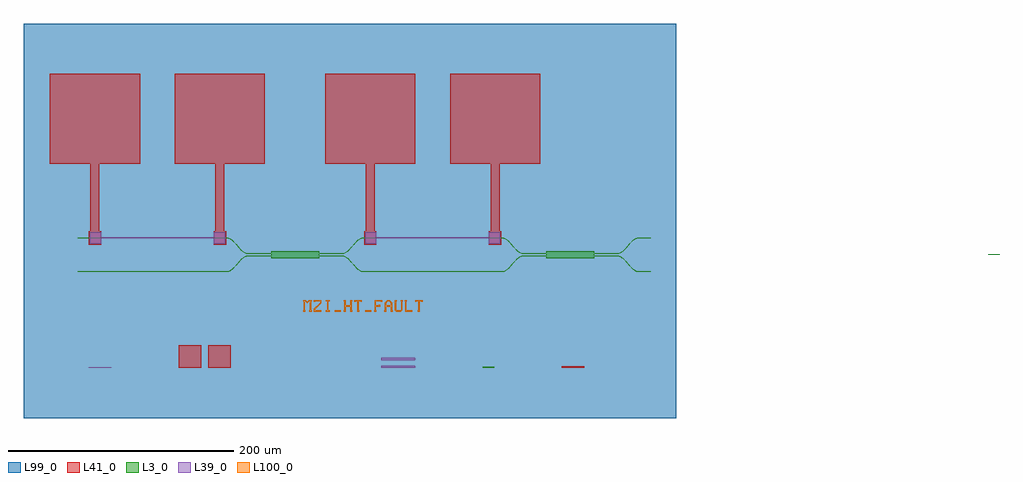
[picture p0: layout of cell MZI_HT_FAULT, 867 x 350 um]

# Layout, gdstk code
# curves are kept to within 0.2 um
import gdstk
lib = gdstk.Library(unit=1e-6, precision=1e-09)
def R(c, l, rs):  # rectangles x0, y0, x1, y1
    for r in rs: c.add(gdstk.rectangle(r[:2], r[2:], *l))
def A(c, l, x, y, w, h, nx, ny, dx, dy):  # array of equal rectangles
    R(c, l, [(x+i*dx, y+j*dy, x+i*dx+w, y+j*dy+h) for i in range(nx) for j in range(ny)])
def P(c, l, *ps):  # polygons
    for p in ps: c.add(gdstk.Polygon(p, *l))
L3_0 = (3, 0)
L39_0 = (39, 0)
L41_0 = (41, 0)
L99_0 = (99, 0)
L100_0 = (100, 0)

soi220nm_1550nm_te_strip = lib.new_cell('SOI220nm_1550nm_TE_STRIP_2x2_MMI_MMI_mmi_trace')
R(soi220nm_1550nm_te_strip, L3_0, [(0,-3,42.5,3)])

c_soi220nm_1550nm_te_strip = lib.new_cell('SOI220nm_1550nm_TE_STRIP_2x2_MMI_TRANSITION1')
P(c_soi220nm_1550nm_te_strip, L3_0, [(0,-1.765),(0,-0.265),(-20,-0.79),(-20,-1.24)])

c_soi220nm_1550nm_te_strip_ = lib.new_cell('SOI220nm_1550nm_TE_STRIP_2x2_MMI_TRANSITION2')
P(c_soi220nm_1550nm_te_strip_, L3_0, [(0,0.265),(0,1.765),(-20,1.24),(-20,0.79)])

c_soi220nm_1550nm_te_strip__ = lib.new_cell('SOI220nm_1550nm_TE_STRIP_2x2_MMI_TRANSITION3')
P(c_soi220nm_1550nm_te_strip__, L3_0, [(42.5,-0.265),(42.5,-1.765),(62.5,-1.24),(62.5,-0.79)])

c_soi220nm_1550nm_te_strip___ = lib.new_cell('SOI220nm_1550nm_TE_STRIP_2x2_MMI_TRANSITION4')
P(c_soi220nm_1550nm_te_strip___, L3_0, [(42.5,1.765),(42.5,0.265),(62.5,0.79),(62.5,1.24)])

c_soi220nm_1550nm_te_strip____ = lib.new_cell('SOI220nm_1550nm_TE_STRIP_2x2_MMI')
c_soi220nm_1550nm_te_strip____.add(gdstk.Reference(soi220nm_1550nm_te_strip, (0,0)))
c_soi220nm_1550nm_te_strip____.add(gdstk.Reference(c_soi220nm_1550nm_te_strip, (0,0)))
c_soi220nm_1550nm_te_strip____.add(gdstk.Reference(c_soi220nm_1550nm_te_strip_, (0,0)))
c_soi220nm_1550nm_te_strip____.add(gdstk.Reference(c_soi220nm_1550nm_te_strip__, (0,0)))
c_soi220nm_1550nm_te_strip____.add(gdstk.Reference(c_soi220nm_1550nm_te_strip___, (0,0)))

wg_trace_7 = lib.new_cell('WG_TRACE_7')
P(wg_trace_7, L3_0, [(-10,14.775),(122.955,14.754),(123.867,14.59),(125.246,14.039),(126.174,13.479),(127.577,12.38),(129.461,10.529),(134.689,4.676),(136.127,3.297),(137.09,2.51),(138.546,1.578),(139.524,1.145),(140.51,0.879),(142,0.79),(142,1.24),(140.59,1.323),(139.676,1.569),(138.754,1.976),(137.36,2.87),(136.423,3.635),(135.011,4.99),(129.789,10.837),(127.873,12.718),(126.426,13.851),(125.454,14.437),(123.983,15.024),(122.995,15.202),(-10,15.225)])

wg_trace_8 = lib.new_cell('WG_TRACE_8')
P(wg_trace_8, L3_0, [(-10,-15.225),(122.995,-15.202),(123.983,-15.024),(125.454,-14.437),(126.426,-13.851),(127.873,-12.718),(129.789,-10.837),(135.011,-4.99),(136.423,-3.635),(137.36,-2.87),(138.754,-1.976),(139.676,-1.569),(140.59,-1.323),(142,-1.24),(142,-0.79),(140.51,-0.879),(139.524,-1.145),(138.546,-1.578),(137.09,-2.51),(136.127,-3.297),(134.689,-4.676),(129.461,-10.529),(127.577,-12.38),(126.174,-13.479),(125.246,-14.039),(123.867,-14.59),(122.955,-14.754),(-10,-14.775)])

wg_trace_9 = lib.new_cell('WG_TRACE_9')
P(wg_trace_9, L3_0, [(224.5,0.79),(225.99,0.879),(226.976,1.145),(227.954,1.578),(229.41,2.51),(230.373,3.297),(231.811,4.676),(237.039,10.529),(238.454,11.954),(239.392,12.778),(240.791,13.777),(241.716,14.262),(242.633,14.59),(244.005,14.775),(367.455,14.754),(368.367,14.59),(369.746,14.039),(370.674,13.479),(372.077,12.38),(373.961,10.529),(379.189,4.676),(380.627,3.297),(382.074,2.164),(383.534,1.341),(385.01,0.879),(386.5,0.79),(386.5,1.24),(385.09,1.323),(384.176,1.569),(383.254,1.976),(381.86,2.87),(380.923,3.635),(379.511,4.99),(374.289,10.837),(372.373,12.718),(370.926,13.851),(369.954,14.437),(368.483,15.024),(367.495,15.202),(243.995,15.225),(243.01,15.136),(242.024,14.87),(241.046,14.437),(239.59,13.505),(238.627,12.718),(237.189,11.339),(231.961,5.486),(230.546,4.061),(229.608,3.237),(228.209,2.238),(226.824,1.569),(225.91,1.323),(224.5,1.24)])

wg_trace_10 = lib.new_cell('WG_TRACE_10')
P(wg_trace_10, L3_0, [(224.5,-1.24),(225.91,-1.323),(226.824,-1.569),(227.746,-1.976),(229.14,-2.87),(230.077,-3.635),(231.489,-4.99),(236.711,-10.837),(238.627,-12.718),(240.074,-13.851),(241.046,-14.437),(242.517,-15.024),(243.505,-15.202),(367.005,-15.225),(367.99,-15.136),(368.976,-14.87),(369.954,-14.437),(371.41,-13.505),(372.373,-12.718),(373.811,-11.339),(379.039,-5.486),(380.454,-4.061),(381.392,-3.237),(382.791,-2.238),(384.176,-1.569),(385.09,-1.323),(386.5,-1.24),(386.5,-0.79),(385.01,-0.879),(384.024,-1.145),(383.046,-1.578),(381.59,-2.51),(380.627,-3.297),(379.189,-4.676),(373.961,-10.529),(372.546,-11.954),(371.608,-12.778),(370.209,-13.777),(369.284,-14.262),(368.367,-14.59),(366.995,-14.775),(243.545,-14.754),(242.633,-14.59),(241.254,-14.039),(240.326,-13.479),(238.923,-12.38),(237.039,-10.529),(231.811,-4.676),(230.373,-3.297),(228.926,-2.164),(227.466,-1.341),(225.99,-0.879),(224.5,-0.79)])

wg_trace_11 = lib.new_cell('WG_TRACE_11')
P(wg_trace_11, L3_0, [(469,0.79),(470.49,0.879),(471.476,1.145),(472.454,1.578),(473.91,2.51),(474.873,3.297),(476.311,4.676),(481.066,10.016),(482.954,11.954),(483.892,12.778),(484.826,13.479),(486.216,14.262),(487.133,14.59),(488.505,14.775),(499,14.775),(499,15.225),(488.495,15.225),(487.51,15.136),(486.034,14.674),(484.574,13.851),(483.608,13.126),(482.646,12.282),(480.734,10.32),(476.461,5.486),(475.046,4.061),(474.108,3.237),(472.709,2.238),(471.324,1.569),(470.41,1.323),(469,1.24)])

wg_trace_12 = lib.new_cell('WG_TRACE_12')
P(wg_trace_12, L3_0, [(469,-1.24),(470.41,-1.323),(471.324,-1.569),(472.709,-2.238),(474.108,-3.237),(475.046,-4.061),(476.461,-5.486),(480.734,-10.32),(482.646,-12.282),(483.608,-13.126),(484.574,-13.851),(486.034,-14.674),(487.51,-15.136),(488.495,-15.225),(499,-15.225),(499,-14.775),(488.505,-14.775),(487.133,-14.59),(486.216,-14.262),(484.826,-13.479),(483.892,-12.778),(482.954,-11.954),(481.066,-10.016),(476.311,-4.676),(474.873,-3.297),(473.91,-2.51),(472.454,-1.578),(470.983,-0.991),(469.995,-0.813),(469,-0.79)])

mzi_ht_fault = lib.new_cell('MZI_HT_FAULT')
R(mzi_ht_fault, L3_0, [(190,-100.55,200,-100.25), (350,-100.55,360,-100.05), (350,-99.9,360,-99.4), (799,0,809,0.5)])
R(mzi_ht_fault, L39_0, [(0,-100.55,20,-100.05), (260,-100.55,290,-98.55), (260,-93.55,290,-91.55), (1,10,11,20), (111,10,121,20), (245.5,10,255.5,20), (355.5,10,365.5,20), (1,14.55,121,15.45), (245.5,14.55,365.5,15.45)])
R(mzi_ht_fault, L41_0, [(80,-100.55,100,-80.55), (106,-100.55,126,-80.55), (420,-100.55,440,-99.05), (0,9,11,21), (111,9,122,21), (244.5,9,255.5,21), (355.5,9,366.5,21), (1.5,21,9.5,81), (112.5,21,120.5,81), (246,21,254,81), (357,21,365,81), (-34.5,81,45.5,161), (76.5,81,156.5,161), (210,81,290,161), (321,81,401,161)])
R(mzi_ht_fault, L99_0, [(-58,-145,522,205)])
A(mzi_ht_fault, L100_0, 196.045, -50.55, 1.819, 1.1, 3, 1, 36, 0)
R(mzi_ht_fault, L100_0, [(190.591,-50.55,192.409,-49.45), (210.409,-50.55,214.045,-49.45), (218.5,-50.55,223.955,-49.45), (226.591,-50.55,228.409,-49.45), (238.318,-50.55,240.136,-49.45), (245.5,-50.55,250.955,-49.45), (253.591,-50.55,255.409,-49.45), (262.591,-50.55,264.409,-49.45), (292.318,-50.55,294.136,-49.45), (190.95,-50,192.05,-40.909), (196.405,-50,197.505,-40.909), (211.677,-50,212.777,-40.909), (226.95,-50,228.05,-40.909), (232.405,-50,233.505,-40.909), (238.677,-50,239.777,-40.909), (292.677,-50,293.777,-40.909), (257.586,-46.364,258.686,-44.545), (227.5,-46.005,232.955,-44.905), (254.5,-46.005,258.136,-44.905), (263.5,-46.005,268.955,-44.905), (210.409,-41.459,214.045,-40.359), (226.591,-41.459,228.409,-40.359), (232.045,-41.459,233.864,-40.359), (271.591,-41.459,273.409,-40.359), (277.045,-41.459,278.864,-40.359), (280.591,-41.459,282.409,-40.359)])
P(mzi_ht_fault, L100_0, [(190.591,-40.359),(192.91,-40.359),(194.227,-41.677),(195.545,-40.359),(197.864,-40.359),(197.864,-41.459),(196.001,-41.459),(194.227,-43.232),(192.454,-41.459),(190.591,-41.459)],
  [(199.95,-41.818),(199.95,-40.359),(206.505,-40.359),(206.505,-42.955),(201.05,-48.41),(201.05,-49.45),(205.405,-49.45),(205.405,-49.091),(206.505,-49.091),(206.505,-50.55),(199.95,-50.55),(199.95,-47.954),(205.405,-42.499),(205.405,-41.459),(201.05,-41.459),(201.05,-41.818)],
  [(235.95,-41.818),(235.95,-40.359),(242.505,-40.359),(242.505,-41.818),(241.405,-41.818),(241.405,-41.459),(237.05,-41.459),(237.05,-41.818)],
  [(253.95,-50),(253.95,-40.359),(260.505,-40.359),(260.505,-41.818),(259.405,-41.818),(259.405,-41.459),(255.05,-41.459),(255.05,-50)],
  [(262.95,-50),(262.95,-42.499),(265.09,-40.359),(267.364,-40.359),(269.505,-42.499),(269.505,-50),(268.405,-50),(268.405,-42.955),(266.909,-41.459),(265.546,-41.459),(264.05,-42.955),(264.05,-50)],
  [(273.05,-40.909),(273.05,-48.863),(273.637,-49.45),(276.818,-49.45),(277.405,-48.863),(277.405,-40.909),(278.505,-40.909),(278.505,-49.319),(277.273,-50.55),(273.181,-50.55),(271.95,-49.319),(271.95,-40.909)],
  [(287.505,-49.091),(287.505,-50.55),(280.95,-50.55),(280.95,-40.909),(282.05,-40.909),(282.05,-49.45),(286.405,-49.45),(286.405,-49.091)],
  [(289.95,-41.818),(289.95,-40.359),(296.505,-40.359),(296.505,-41.818),(295.405,-41.818),(295.405,-41.459),(291.05,-41.459),(291.05,-41.818)])
mzi_ht_fault.add(gdstk.Reference(c_soi220nm_1550nm_te_strip____, (162,0)))
mzi_ht_fault.add(gdstk.Reference(c_soi220nm_1550nm_te_strip____, (406.5,0)))
mzi_ht_fault.add(gdstk.Reference(wg_trace_7, (0,0)))
mzi_ht_fault.add(gdstk.Reference(wg_trace_8, (0,0)))
mzi_ht_fault.add(gdstk.Reference(wg_trace_9, (0,0)))
mzi_ht_fault.add(gdstk.Reference(wg_trace_10, (0,0)))
mzi_ht_fault.add(gdstk.Reference(wg_trace_11, (0,0)))
mzi_ht_fault.add(gdstk.Reference(wg_trace_12, (0,0)))

lib.write_gds('MZI_HT_FAULT.gds')
